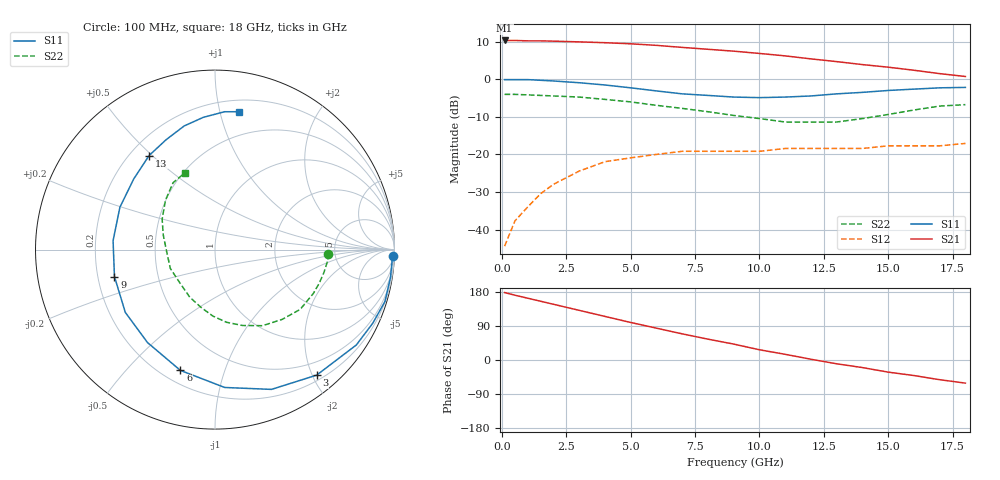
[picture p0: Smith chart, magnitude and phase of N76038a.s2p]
! FILENAME:  N76038A.S2P  VERSION: 4.0
! NEC PART NUMBER: NE76038  DATE: 2/91
! BIAS CONDITIONS:  VDS = 3V, IDS =10mA
! NOTE: S-PARAMETERS ARE DE-EMBEDDED TO THE FOOT OF EACH LEAD.
# GHZ S MA R 50
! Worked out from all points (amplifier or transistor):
!   21 points, 100 MHz to 18 GHz, reference 50 ohm
!   highest |S21| = 10.3 dB at 100 MHz (marker M1)
!   |S21| within 3 dB of that: start of sweep to 9.249 GHz
!   unconditionally stable (mu >= 1): 8.146 GHz to end of sweep
!   at 1.5 GHz: K = 0.25, MSG = 20.3 dB, |S12| = -30.5 dB
!   at 8 GHz: K = 0.98, MSG = 13.6 dB, |S12| = -19.2 dB
!   at 18 GHz: K = 1.09, MAG = 7.0 dB, |S12| = -17.1 dB
!   lowest NFmin = 0.40 dB at 500 MHz
!   S11 on the Smith chart (normalised r, x): 100 MHz: 15, -53; 3 GHz: 0.28, -2.07; 6 GHz: 0.27, -0.72; 9 GHz: 0.27, -0.12; 13 GHz: 0.28, +0.49; 18 GHz: 0.29, +1.15
0.1  0.99 -2.0  3.29 178.0  0.006 101.0  0.63 -2.0
0.5  0.99 -9.0  3.29 171.0  0.013 82.0  0.63 -6.0
1  0.99 -17.0  3.25 163.0  0.02 78.0  0.62 -12.0
1.5  0.97 -25.0  3.25 155.0  0.03 71.0  0.61 -18.0
2  0.95 -34.0  3.22 147.0  0.04 66.0  0.6 -24.0
3  0.9 -51.0  3.15 131.0  0.06 57.0  0.58 -35.0
4  0.84 -68.0  3.07 115.0  0.08 47.0  0.54 -46.0
5  0.77 -86.0  2.97 99.0  0.09 37.0  0.5 -58.0
6  0.7 -106.0  2.83 84.0  0.1 28.0  0.45 -70.0
7  0.64 -126.0  2.66 69.0  0.11 21.0  0.41 -81.0
8  0.61 -145.0  2.51 55.0  0.11 16.0  0.37 -92.0
9  0.58 -165.0  2.37 42.0  0.11 10.0  0.33 -104.0
10  0.57 175.0  2.21 27.0  0.11 7.0  0.3 -118.0
11  0.58 156.0  2.05 15.0  0.12 3.0  0.27 -136.0
12  0.6 139.0  1.87 2.0  0.12 -0.0  0.27 -157.0
13  0.64 125.0  1.72 -10.0  0.12 -1.0  0.27 -178.0
14  0.67 114.0  1.57 -20.0  0.12 -2.0  0.3 164.0
15  0.71 104.0  1.45 -32.0  0.13 -4.0  0.34 150.0
16  0.74 95.0  1.32 -41.0  0.13 -8.0  0.39 135.0
17  0.77 86.0  1.19 -52.0  0.13 -12.0  0.44 122.0
18  0.78 80.0  1.09 -61.0  0.14 -17.0  0.46 111.0
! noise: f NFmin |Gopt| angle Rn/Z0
0.5  0.4  0.84  5  0.79
1  0.45  0.82  10  0.75
2  0.6  0.76  28  0.7
4  0.8  0.66  58  0.61
6  1.1  0.55  101  0.5
8  1.35  0.5  152  0.4
10  1.6  0.48  -166  0.31
12  1.8  0.54  -130  0.25
14  2.1  0.63  -105  0.2
18  2.55  0.7  -75  0.12
